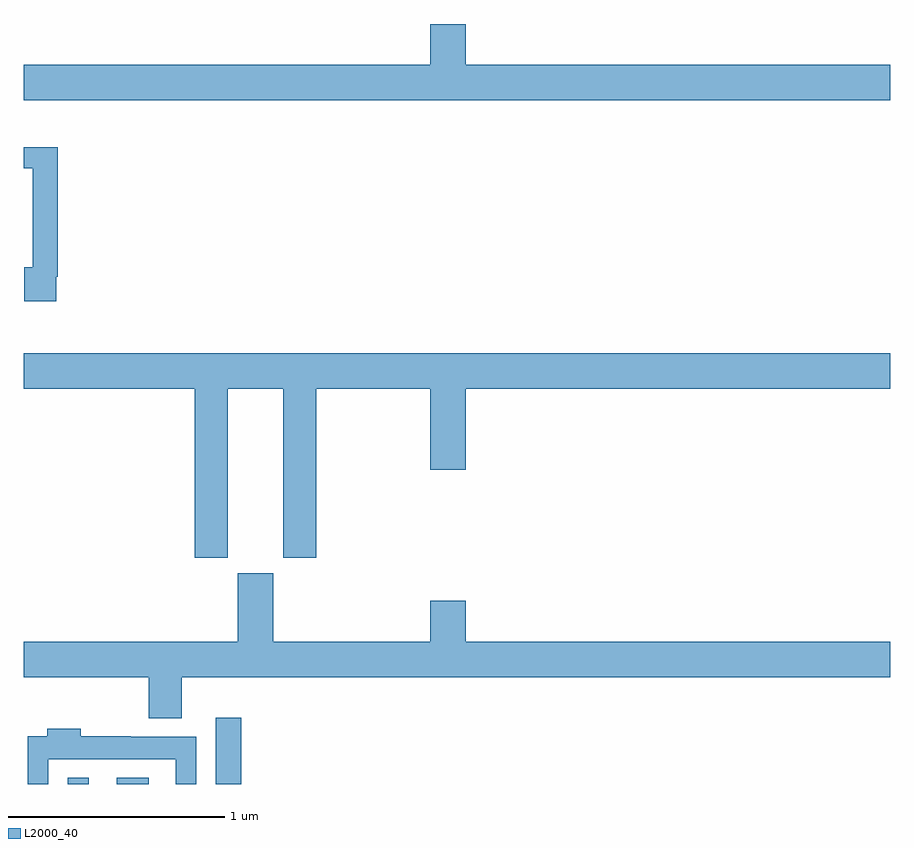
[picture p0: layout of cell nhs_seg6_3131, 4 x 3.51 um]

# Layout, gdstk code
import gdstk
lib = gdstk.Library(unit=1e-6, precision=1e-09)
def R(c, l, rs):  # rectangles x0, y0, x1, y1
    for r in rs: c.add(gdstk.rectangle(r[:2], r[2:], *l))
def P(c, l, *ps):  # polygons
    for p in ps: c.add(gdstk.Polygon(p, *l))
L2000_40 = (2000, 40)

nhs_seg6_3131 = lib.new_cell('nhs_seg6_3131')
R(nhs_seg6_3131, L2000_40, [(295.203,957.5,295.3,957.529), (295.43,957.5,295.576,957.529), (295.887,957.5,296.003,957.805)])
P(nhs_seg6_3131, L2000_40, [(299,960.82),(297.04,960.82),(297.04,961.009),(296.876,961.009),(296.876,960.82),(295,960.82),(295,960.656),(299,960.656)],
  [(295.15,959.842),(295.157,959.842),(295.157,960.44),(295,960.44),(295,960.342),(295.041,960.342),(295.041,959.886),(295.001,959.886),(295.001,959.73),(295.15,959.73)],
  [(295.942,959.324),(296.198,959.324),(296.198,958.545),(296.351,958.545),(296.351,959.324),(296.876,959.324),(296.876,958.95),(297.04,958.95),(297.04,959.324),(299,959.324),(299,959.488),(295,959.488),(295,959.324),(295.79,959.324),(295.79,958.545),(295.942,958.545)],
  [(295.729,957.992),(299,957.992),(299,958.156),(297.04,958.156),(297.04,958.345),(296.876,958.345),(296.876,958.156),(296.152,958.156),(296.152,958.473),(295.988,958.473),(295.988,958.156),(295,958.156),(295,957.992),(295.577,957.992),(295.577,957.803),(295.729,957.803)],
  [(295.113,957.614),(295.701,957.614),(295.701,957.5),(295.797,957.5),(295.797,957.718),(295.493,957.718),(295.493,957.721),(295.262,957.721),(295.262,957.754),(295.109,957.754),(295.109,957.721),(295.017,957.721),(295.017,957.5),(295.113,957.5)])

lib.write_gds('nhs_seg6_3131.gds')
